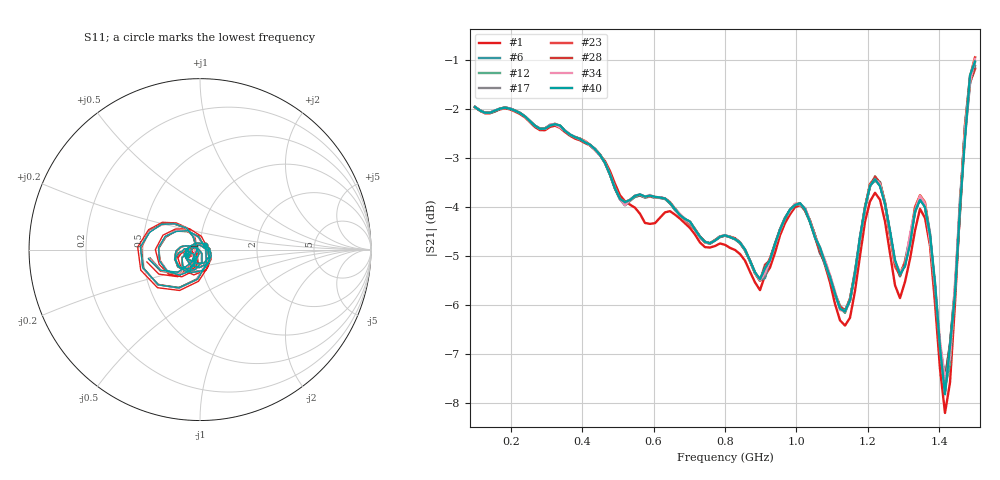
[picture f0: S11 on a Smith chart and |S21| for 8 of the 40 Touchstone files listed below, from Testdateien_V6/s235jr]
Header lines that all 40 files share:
! NanoVNA-App
! Start: 100MHz Stop: 1,5GHz Points: 101
! S-Parameter data: F S11 S21 S12 S22
# Hz S RI R 50
!  Frequency  S11_Real  S11_Imag  S21_Real  S21_Imag  S12_Real  S12_Imag  S22_Real  S22_Imag
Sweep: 100 MHz to 1.5 GHz
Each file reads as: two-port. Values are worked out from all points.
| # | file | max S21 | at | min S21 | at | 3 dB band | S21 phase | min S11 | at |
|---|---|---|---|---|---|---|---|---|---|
| 1 | s235jr (1).s2p | -1.17 dB | 1.5 GHz | -8.2 dB | 1.416 GHz | 100 MHz-562 MHz | 125 deg at 800 MHz | -37.7 dB | 870 MHz |
| 2 | s235jr (24).s2p | -0.97 dB | 1.5 GHz | -7.4 dB | 1.416 GHz | 100 MHz-646 MHz | 126 deg at 800 MHz | -35.1 dB | 870 MHz |
| 3 | s235jr (25).s2p | -1.06 dB | 1.5 GHz | -7.8 dB | 1.43 GHz | 100 MHz-660 MHz | 126 deg at 800 MHz | -34.9 dB | 870 MHz |
| 4 | s235jr (26).s2p | -0.92 dB | 1.5 GHz | -7.6 dB | 1.416 GHz | 100 MHz-646 MHz | 126 deg at 800 MHz | -34.9 dB | 870 MHz |
| 5 | s235jr (27).s2p | -1.09 dB | 1.5 GHz | -7.7 dB | 1.416 GHz | 100 MHz-660 MHz | 126 deg at 800 MHz | -35.3 dB | 1.444 GHz |
| 6 | s235jr (28).s2p | -0.95 dB | 1.5 GHz | -7.5 dB | 1.416 GHz | 100 MHz-506 MHz | 126 deg at 800 MHz | -35.2 dB | 870 MHz |
| 7 | s235jr (29).s2p | -0.99 dB | 1.5 GHz | -7.6 dB | 1.416 GHz | 100 MHz-646 MHz | 126 deg at 800 MHz | -35.1 dB | 870 MHz |
| 8 | s235jr (30).s2p | -1.02 dB | 1.5 GHz | -7.6 dB | 1.416 GHz | 100 MHz-646 MHz | 126 deg at 800 MHz | -35.0 dB | 870 MHz |
| 9 | s235jr (31).s2p | -0.99 dB | 1.5 GHz | -7.5 dB | 1.416 GHz | 100 MHz-646 MHz | 126 deg at 800 MHz | -35.0 dB | 870 MHz |
| 10 | s235jr (32).s2p | -1.08 dB | 1.5 GHz | -7.8 dB | 1.43 GHz | 100 MHz-660 MHz | 126 deg at 800 MHz | -35.0 dB | 870 MHz |
| 11 | s235jr (33).s2p | -1.17 dB | 1.5 GHz | -7.5 dB | 1.416 GHz | 100 MHz-674 MHz | 126 deg at 800 MHz | -35.1 dB | 870 MHz |
| 12 | s235jr (34).s2p | -1.12 dB | 1.5 GHz | -7.7 dB | 1.416 GHz | 100 MHz-660 MHz | 126 deg at 800 MHz | -35.1 dB | 870 MHz |
| 13 | s235jr (35).s2p | -0.94 dB | 1.5 GHz | -7.6 dB | 1.416 GHz | 100 MHz-646 MHz | 126 deg at 800 MHz | -35.6 dB | 1.444 GHz |
| 14 | s235jr (36).s2p | -1.08 dB | 1.5 GHz | -7.4 dB | 1.416 GHz | 100 MHz-660 MHz | 126 deg at 800 MHz | -35.1 dB | 870 MHz |
| 15 | s235jr (37).s2p | -0.90 dB | 1.5 GHz | -7.5 dB | 1.416 GHz | 100 MHz-506 MHz | 126 deg at 800 MHz | -35.1 dB | 870 MHz |
| 16 | s235jr (38).s2p | -0.89 dB | 1.5 GHz | -7.6 dB | 1.416 GHz | 100 MHz-506 MHz | 126 deg at 800 MHz | -35.1 dB | 870 MHz |
| 17 | s235jr (39).s2p | -1.05 dB | 1.5 GHz | -7.5 dB | 1.416 GHz | 100 MHz-660 MHz | 126 deg at 800 MHz | -35.1 dB | 870 MHz |
| 18 | s235jr (40).s2p | -0.91 dB | 1.5 GHz | -7.3 dB | 1.416 GHz | 100 MHz-632 MHz | 126 deg at 800 MHz | -34.8 dB | 870 MHz |
| 19 | s235jr (41).s2p | -1.01 dB | 1.5 GHz | -7.7 dB | 1.43 GHz | 100 MHz-646 MHz | 126 deg at 800 MHz | -35.0 dB | 870 MHz |
| 20 | s235jr (42).s2p | -1.16 dB | 1.5 GHz | -7.6 dB | 1.416 GHz | 100 MHz-674 MHz | 126 deg at 800 MHz | -35.3 dB | 870 MHz |
| 21 | s235jr (43).s2p | -1.10 dB | 1.5 GHz | -7.6 dB | 1.416 GHz | 100 MHz-660 MHz | 126 deg at 800 MHz | -34.9 dB | 870 MHz |
| 22 | s235jr (44).s2p | -1.00 dB | 1.5 GHz | -7.7 dB | 1.43 GHz | 100 MHz-646 MHz | 126 deg at 800 MHz | -34.9 dB | 870 MHz |
| 23 | s235jr (45).s2p | -0.94 dB | 1.5 GHz | -7.6 dB | 1.416 GHz | 100 MHz-646 MHz | 126 deg at 800 MHz | -35.1 dB | 870 MHz |
| 24 | s235jr (46).s2p | -1.03 dB | 1.5 GHz | -7.5 dB | 1.416 GHz | 100 MHz-646 MHz | 126 deg at 800 MHz | -34.7 dB | 870 MHz |
| 25 | s235jr (47).s2p | -0.99 dB | 1.5 GHz | -7.7 dB | 1.416 GHz | 100 MHz-646 MHz | 126 deg at 800 MHz | -34.7 dB | 870 MHz |
| 26 | s235jr (48).s2p | -0.91 dB | 1.5 GHz | -7.5 dB | 1.416 GHz | 100 MHz-632 MHz | 126 deg at 800 MHz | -34.9 dB | 1.444 GHz |
| 27 | s235jr (49).s2p | -1.11 dB | 1.5 GHz | -7.6 dB | 1.416 GHz | 100 MHz-660 MHz | 126 deg at 800 MHz | -34.8 dB | 870 MHz |
| 28 | s235jr (50).s2p | -1.19 dB | 1.5 GHz | -7.5 dB | 1.416 GHz | 100 MHz-674 MHz | 126 deg at 800 MHz | -34.8 dB | 870 MHz |
| 29 | s235jr (51).s2p | -0.96 dB | 1.5 GHz | -7.7 dB | 1.416 GHz | 100 MHz-646 MHz | 126 deg at 800 MHz | -34.9 dB | 870 MHz |
| 30 | s235jr (52).s2p | -0.95 dB | 1.5 GHz | -7.5 dB | 1.416 GHz | 100 MHz-646 MHz | 126 deg at 800 MHz | -34.7 dB | 870 MHz |
| 31 | s235jr (53).s2p | -0.92 dB | 1.5 GHz | -7.7 dB | 1.416 GHz | 100 MHz-646 MHz | 126 deg at 800 MHz | -35.0 dB | 870 MHz |
| 32 | s235jr (54).s2p | -1.10 dB | 1.5 GHz | -7.5 dB | 1.416 GHz | 100 MHz-660 MHz | 126 deg at 800 MHz | -34.7 dB | 870 MHz |
| 33 | s235jr (55).s2p | -1.07 dB | 1.5 GHz | -7.5 dB | 1.416 GHz | 100 MHz-660 MHz | 126 deg at 800 MHz | -34.9 dB | 870 MHz |
| 34 | s235jr (56).s2p | -0.98 dB | 1.5 GHz | -7.5 dB | 1.416 GHz | 100 MHz-646 MHz | 126 deg at 800 MHz | -35.1 dB | 870 MHz |
| 35 | s235jr (57).s2p | -1.08 dB | 1.5 GHz | -7.7 dB | 1.416 GHz | 100 MHz-660 MHz | 126 deg at 800 MHz | -34.9 dB | 870 MHz |
| 36 | s235jr (58).s2p | -0.80 dB | 1.5 GHz | -7.5 dB | 1.416 GHz | 100 MHz-492 MHz | 126 deg at 800 MHz | -35.2 dB | 1.444 GHz |
| 37 | s235jr (59).s2p | -1.04 dB | 1.5 GHz | -7.4 dB | 1.43 GHz | 100 MHz-646 MHz | 126 deg at 800 MHz | -35.1 dB | 870 MHz |
| 38 | s235jr (60).s2p | -1.11 dB | 1.5 GHz | -7.5 dB | 1.416 GHz | 100 MHz-660 MHz | 126 deg at 800 MHz | -34.8 dB | 870 MHz |
| 39 | s235jr (61).s2p | -1.04 dB | 1.5 GHz | -7.6 dB | 1.416 GHz | 100 MHz-660 MHz | 126 deg at 800 MHz | -35.0 dB | 870 MHz |
| 40 | s235jr (62).s2p | -1.03 dB | 1.5 GHz | -7.8 dB | 1.416 GHz | 100 MHz-646 MHz | 126 deg at 800 MHz | -35.8 dB | 1.444 GHz |
